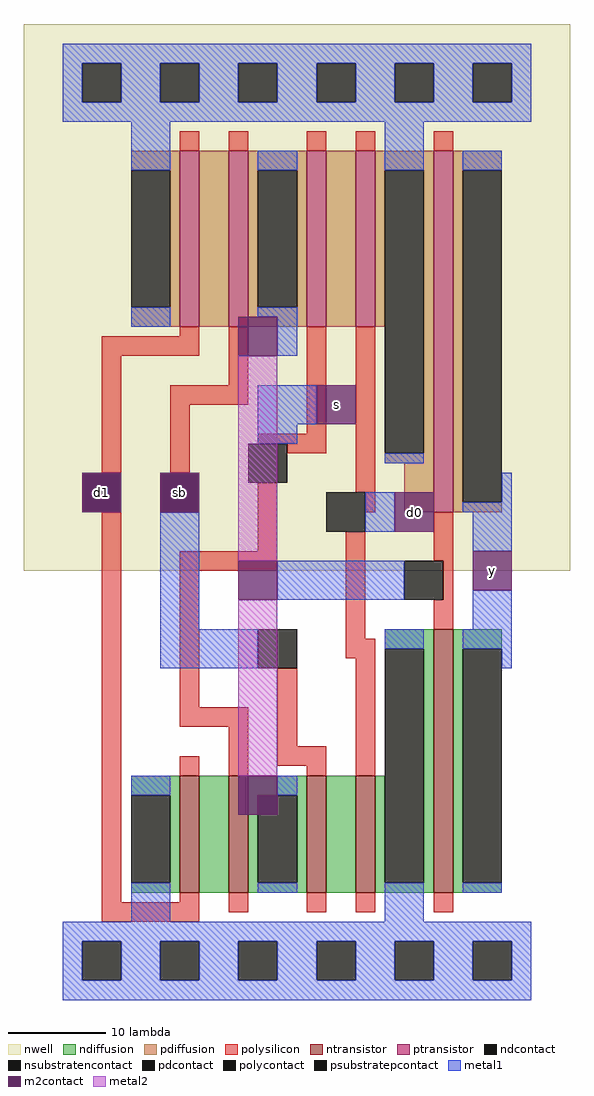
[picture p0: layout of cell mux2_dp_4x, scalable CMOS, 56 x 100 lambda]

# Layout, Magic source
magic
tech scmos
<< nwell >>
rect -6 40 50 96
<< ntransistor >>
rect 10 7 12 19
rect 15 7 17 19
rect 23 7 25 19
rect 28 7 30 19
rect 36 7 38 34
<< ptransistor >>
rect 10 65 12 83
rect 15 65 17 83
rect 23 65 25 83
rect 28 65 30 83
rect 36 46 38 83
<< ndiffusion >>
rect 31 32 36 34
rect 5 17 10 19
rect 9 8 10 17
rect 5 7 10 8
rect 12 7 15 19
rect 17 17 23 19
rect 17 8 18 17
rect 22 8 23 17
rect 17 7 23 8
rect 25 7 28 19
rect 30 8 31 19
rect 35 8 36 32
rect 30 7 36 8
rect 38 32 43 34
rect 38 8 39 32
rect 38 7 43 8
<< pdiffusion >>
rect 5 81 10 83
rect 9 67 10 81
rect 5 65 10 67
rect 12 65 15 83
rect 17 81 23 83
rect 17 67 18 81
rect 22 67 23 81
rect 17 65 23 67
rect 25 65 28 83
rect 30 81 36 83
rect 30 65 31 81
rect 35 52 36 81
rect 31 51 36 52
rect 33 46 36 51
rect 38 81 43 83
rect 38 47 39 81
rect 38 46 43 47
<< ndcontact >>
rect 5 8 9 17
rect 18 8 22 17
rect 31 8 35 32
rect 39 8 43 32
<< pdcontact >>
rect 5 67 9 81
rect 18 67 22 81
rect 31 52 35 81
rect 39 47 43 81
<< psubstratepcontact >>
rect 0 -2 4 2
rect 8 -2 12 2
rect 16 -2 20 2
rect 24 -2 28 2
rect 32 -2 36 2
rect 40 -2 44 2
<< nsubstratencontact >>
rect 0 88 4 92
rect 8 88 12 92
rect 16 88 20 92
rect 24 88 28 92
rect 32 88 36 92
rect 40 88 44 92
<< polysilicon >>
rect 10 83 12 85
rect 15 83 17 85
rect 23 83 25 85
rect 28 83 30 85
rect 36 83 38 85
rect 10 64 12 65
rect 2 62 12 64
rect 2 50 4 62
rect 15 59 17 65
rect 9 57 17 59
rect 9 50 11 57
rect 23 54 25 65
rect 18 53 25 54
rect 21 52 25 53
rect 2 6 4 46
rect 18 42 20 49
rect 28 48 30 65
rect 29 46 30 48
rect 10 40 20 42
rect 10 26 12 40
rect 27 33 29 44
rect 36 41 38 46
rect 37 37 38 41
rect 36 34 38 37
rect 27 31 30 33
rect 10 24 17 26
rect 10 19 12 21
rect 15 19 17 24
rect 20 22 22 30
rect 20 20 25 22
rect 23 19 25 20
rect 28 19 30 31
rect 10 6 12 7
rect 2 4 12 6
rect 15 5 17 7
rect 23 5 25 7
rect 28 5 30 7
rect 36 5 38 7
<< polycontact >>
rect 0 46 4 50
rect 8 46 12 50
rect 17 49 21 53
rect 25 44 29 48
rect 18 30 22 34
rect 33 37 37 41
<< metal1 >>
rect -2 92 46 94
rect -2 88 0 92
rect 4 88 8 92
rect 12 88 16 92
rect 20 88 24 92
rect 28 88 32 92
rect 36 88 40 92
rect 44 88 46 92
rect -2 86 46 88
rect 5 81 9 86
rect 5 65 9 67
rect 18 81 22 83
rect 18 66 22 67
rect 20 62 22 66
rect 31 81 35 86
rect 18 55 24 59
rect 18 53 22 55
rect 31 51 35 52
rect 39 81 43 83
rect 8 34 12 46
rect 29 44 32 48
rect 43 47 44 50
rect 39 46 44 47
rect 40 42 44 46
rect 20 37 33 41
rect 40 34 44 38
rect 8 30 18 34
rect 31 32 35 34
rect 5 17 9 19
rect 20 17 22 19
rect 5 4 9 8
rect 18 7 22 8
rect 31 4 35 8
rect 39 32 44 34
rect 43 30 44 32
rect 39 7 43 8
rect -2 2 46 4
rect -2 -2 0 2
rect 4 -2 8 2
rect 12 -2 16 2
rect 20 -2 24 2
rect 28 -2 32 2
rect 36 -2 40 2
rect 44 -2 46 2
rect -2 -4 46 -2
<< m2contact >>
rect 16 62 20 66
rect 24 55 28 59
rect 0 46 4 50
rect 8 46 12 50
rect 32 44 36 48
rect 16 37 20 41
rect 40 38 44 42
rect 16 17 20 19
rect 16 15 18 17
rect 18 15 20 17
<< metal2 >>
rect 16 41 20 62
rect 16 19 20 37
<< labels >>
rlabel m2contact 2 48 2 48 1 d1
rlabel m2contact 10 48 10 48 1 sb
rlabel m2contact 26 57 26 57 1 s
rlabel m2contact 34 46 34 46 1 d0
rlabel m2contact 42 40 42 40 1 y
<< end >>
